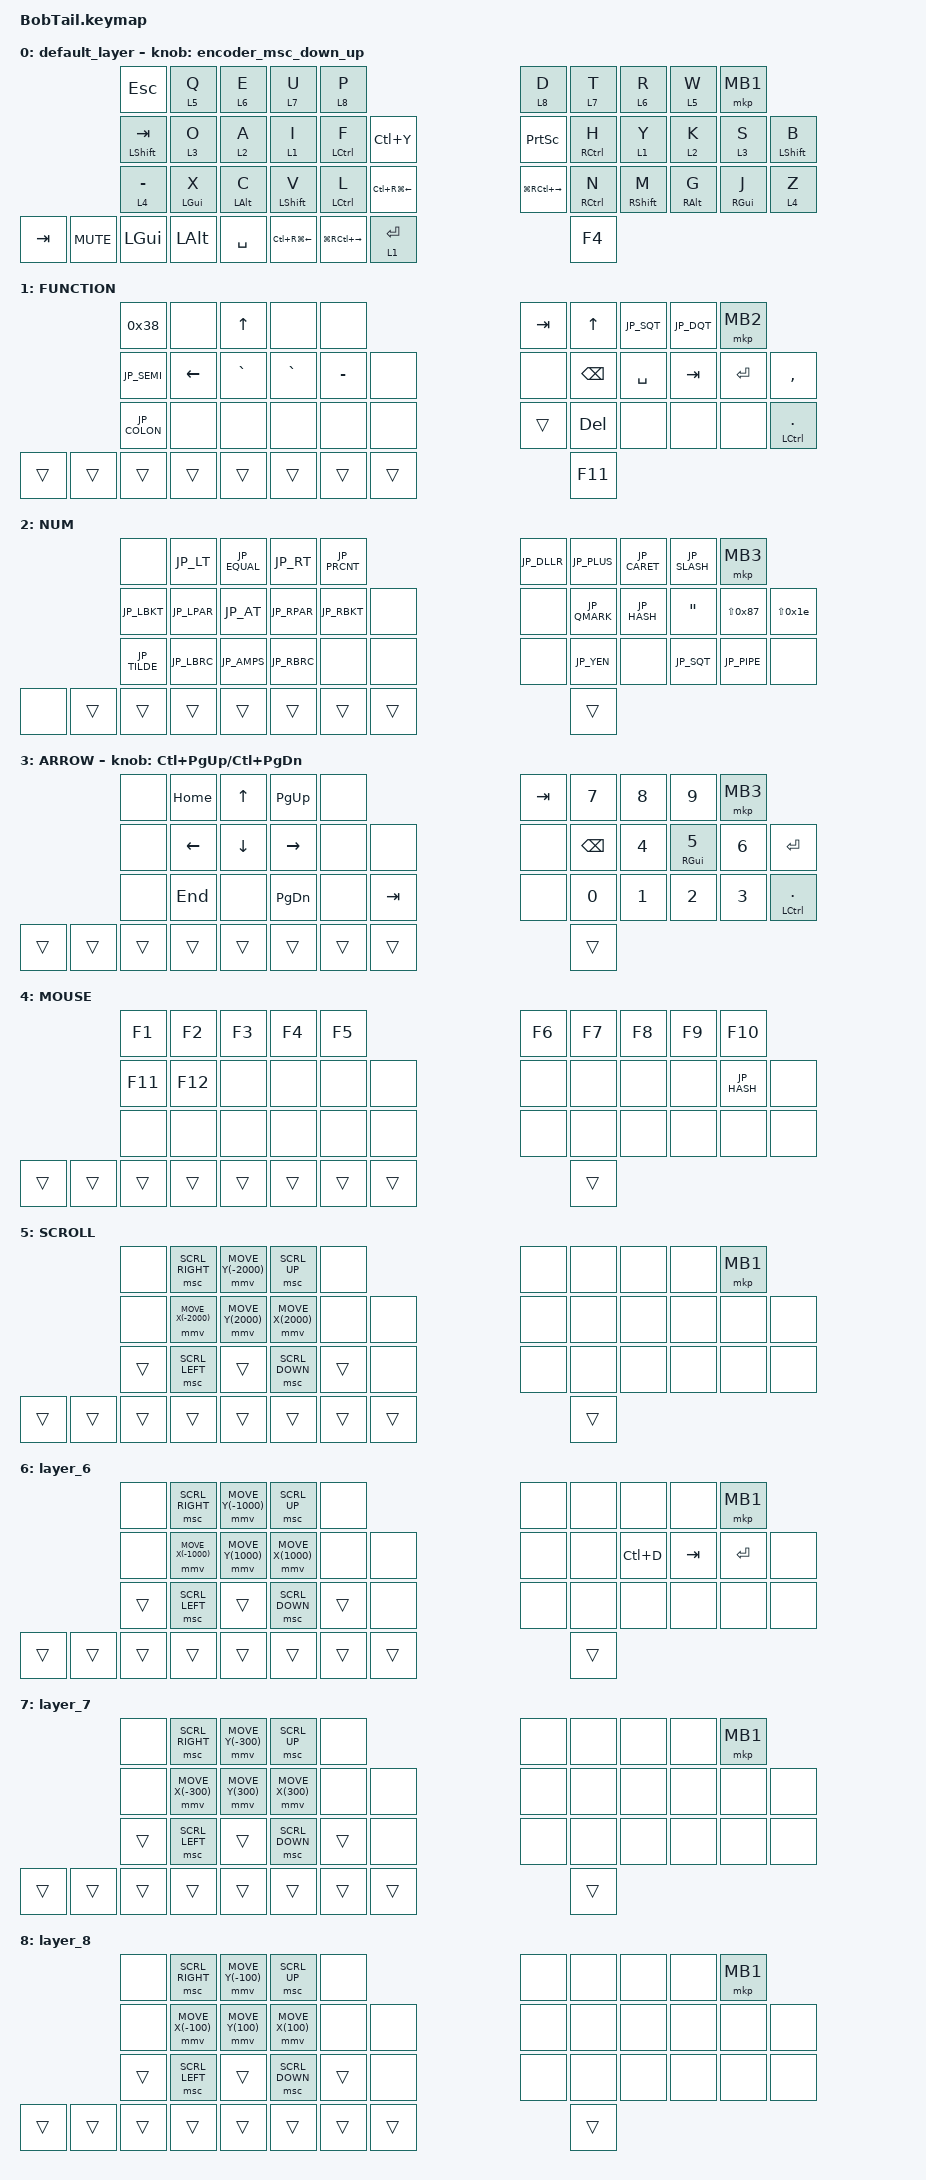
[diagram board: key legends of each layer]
#include <behaviors.dtsi>
#include <dt-bindings/zmk/bt.h>
#include <dt-bindings/zmk/keys.h>
#include <dt-bindings/zmk/pointing.h>
#include "keycode_japanese.h"


#define ZMK_POINTING_DEFAULT_SCRL_VAL 40   //80→40にしてみる

&msc {
    acceleration-exponent = <0>;      // 0
    time-to-max-speed-ms = <0>;       // 300
    delay-ms = <0>;                   // 0
};

&mmv {
    time-to-max-speed-ms = <0>;
    acceleration-exponent = <0>;
    trigger-period-ms = <10>;
    delay-ms = <0>;
};

&mt { 
    flavor = "balanced"; 
    tapping-term-ms = <200>;
    quick-tap-ms = <150>; 
};

&lt {
    flavor = "balanced";
    tapping-term-ms = <200>; 
    quick-tap-ms = <150>; 
};

    // 0  1  2  3  4  　　　　　　　　5  6  7  8  9  
    // 10 11 12 13 14 15        16 17 18 19 20 21
    // 22 23 24 25 26 27        28 29 30 31 32 33
    // 34 35 36 37 38 39        40 41         42







/ {
    combos {
        compatible = "zmk,combos";

      lang {
            bindings = <&kp GRAVE>;
            key-positions = <1 3>;
            layers = <0>;
            timeout-ms = <200>;
        };

        fopen {
            bindings = <&kp LG(N2)>;
            key-positions = <5 9>;
            layers = <0>;
            timeout-ms = <200>;
        };

       bootloader_R {
            bindings = <&bootloader>;
            key-positions = <5 9 40 42>;
            timeout-ms = <200>;
        };

       bootloader_L {
            bindings = <&bootloader>;
            key-positions = <0 4 34 39>;
            timeout-ms = <200>;
        };

        eq {
            bindings = <&bt BT_CLR_ALL>;
            key-positions = <0 10 22>;
            timeout-ms = <50>;
            layers = <0>;
        };

        bt0 {
            bindings = <&bt BT_SEL 0>;
            key-positions = <5 17 29>;
            timeout-ms = <50>;
            layers = <0>;
        };

        bt1 {
            bindings = <&bt BT_SEL 1>;
            key-positions = <6 18 30>;
            layers = <0>;
        };

        bt2 {
            bindings = <&bt BT_SEL 2>;
            key-positions = <7 19 31>;
            layers = <0>;
        };

        mute {
            bindings = <&kp C_MUTE>;
            key-positions = <13 14>;
            layers = <0>;
        };

        vup {
            bindings = <&kp C_VOL_UP>;
            key-positions = <3 4>;
            layers = <0>;
        };

        vdn {
            bindings = <&kp C_VOL_DN>;
            key-positions = <25 26>;
            layers = <0>;
        };

        printscreen {
            bindings = <&kp PSCRN>;
            key-positions = <23 25>;
            layers = <0>;
        };


        space {
            bindings = <&kp SPACE>;
            key-positions = <10 13>;
            layers = <0>;
            timeout-ms = <250>;
        };


    };

    behaviors {
        encoder_msc_down_up: encoder_msc_down_up {
            compatible = "zmk,behavior-sensor-rotate";
            label = "ENCODER_MSC_DOWN_UP";
            #sensor-binding-cells = <0>;
            bindings = <&msc SCRL_UP>,<&msc SCRL_DOWN>;
            tap-ms = <20>;
        };
    };


    keymap {
        compatible = "zmk,keymap";

        default_layer {
            bindings = <
&kp ESCAPE      &lt 5 Q    &lt 6 E    &lt 7 U       &lt 8 P                                                  &lt 8 D    &lt 7 T       &lt 6 R     &lt 5 W     &mkp MB1
&mt LSHIFT TAB  &lt 3 O    &lt 2 A    &lt 1 I       &mt LCTRL F        &kp LC(Y)              &kp PRINTSCREEN      &mt RCTRL H  &lt 1 Y       &lt 2 K     &lt 3 S     &mt LEFT_SHIFT B
&lt 4 MINUS     &mt LGUI X &mt LALT C &mt LSHIFT V  &mt LCTRL L  &kp LC(RG(LEFT))             &kp LG(RC(RIGHT))             &mt RCTRL N  &mt RSHIFT M  &mt RALT G  &mt RGUI J  &lt 4 Z
&kp TAB             &kp C_MUTE  &kp LEFT_GUI  &kp LEFT_ALT  &kp SPACE  &kp LC(RG(LEFT))             &kp LG(RC(RIGHT))  &lt 1 ENTER                             &kp F4
            >;

            sensor-bindings = <&encoder_msc_down_up>;
        };

        FUNCTION {
            bindings = <
 &kp 0x38      &none      &kp UP     &none      &none                              &kp TAB        &kp UP     &kp JP_SQT  &kp JP_DQT  &mkp MB2
&kp JP_SEMI   &kp LEFT   &kp GRAVE  &kp GRAVE  &kp MINUS  &none      &none  &kp BACKSPACE  &kp SPACE  &kp TAB     &kp ENTER   &kp COMMA
 &kp JP_COLON  &none      &none      &none      &none      &none         &trans    &kp DELETE     &none      &none       &none       &mt LCTRL PERIOD
&trans    &trans     &trans     &trans     &trans     &trans         &trans    &trans                                       &kp F11
            >;
        };

        NUM {
            bindings = <

          &none        &kp JP_LT      &kp JP_EQUAL   &kp JP_RT    &kp JP_PRCNT                               &kp JP_DLLR   &kp JP_PLUS  &kp JP_CARET      &kp JP_SLASH  &mkp MB3
            &kp JP_LBKT  &kp JP_LPAR    &kp JP_AT      &kp JP_RPAR  &kp JP_RBKT      &none                   &none       &kp JP_QMARK  &kp JP_HASH  &kp DOUBLE_QUOTES &kp LS(0x87)  &kp LS(0x1e)
            &kp JP_TILDE &kp JP_LBRC    &kp JP_AMPS    &kp JP_RBRC  &none            &none                 &none         &kp JP_YEN    &none        &kp JP_SQT        &kp JP_PIPE   &none
  

&none    &trans        &trans         &trans        &trans         &trans          &trans      &trans                                                   &trans
            >;
        };

        ARROW {
            bindings = <


     &none        &kp HOME   &kp UP     &kp PAGE_UP      &none                               &kp TAB          &kp N7          &kp N8        &kp N9         &mkp MB3
                &none        &kp LEFT   &kp DOWN   &kp RIGHT        &none  &none                   &none       &kp BACKSPACE  &kp N4          &mt RGUI N5        &kp N6         &kp ENTER
                &none        &kp END    &none      &kp PAGE_DOWN    &none      &kp TAB             &none           &kp N0         &kp N1          &kp N2        &kp N3         &mt LCTRL PERIOD
           

&trans  &trans  &trans  &trans  &trans  &trans      &trans  &trans                          &trans
            >;

            sensor-bindings = <&inc_dec_kp LC(PAGE_UP) LC(PAGE_DOWN)>;
        };

        MOUSE {
            bindings = <
               &kp F1   &kp F2    &kp F3  &kp F4  &kp F5                            &kp F6  &kp F7  &kp F8  &kp F9       &kp F10
               &kp F11  &kp F12   &none   &none   &none     &none                  &none      &none   &none   &none   &kp JP_HASH  &none
               &none    &none     &none   &none   &none     &none                  &none      &none   &none   &none   &none        &none
&trans  &trans  &trans  &trans  &trans  &trans      &trans  &trans                              &trans
            >;
        };

        SCROLL {
            bindings = <
             &none   &msc SCRL_RIGHT    &mmv MOVE_Y(-2000)  &msc SCRL_UP       &none                    &none   &none  &none  &none  &mkp MB1
                &none   &mmv MOVE_X(-2000) &mmv MOVE_Y(2000)   &mmv MOVE_X(2000)  &none  &none          &none        &none   &none  &none  &none  &none
                &trans  &msc SCRL_LEFT     &trans              &msc SCRL_DOWN     &trans &none          &none        &none   &none  &none  &none  &none
   &trans  &trans  &trans  &trans  &trans  &trans      &trans  &trans                          &trans
            >;
        };

        layer_6 {
            bindings = <
            &none  &msc SCRL_RIGHT   &mmv MOVE_Y(-1000) &msc SCRL_UP      &none                   &none  &none     &none    &none     &mkp MB1
                &none  &mmv MOVE_X(-1000) &mmv MOVE_Y(1000)  &mmv MOVE_X(1000)  &none  &none          &none       &none  &kp LC(D) &kp TAB  &kp ENTER &none 
                &trans &msc SCRL_LEFT    &trans            &msc SCRL_DOWN    &trans &none          &none       &none  &none     &none    &none     &none
    &trans  &trans  &trans  &trans  &trans  &trans      &trans  &trans                          &trans
            >;
        };

        layer_7 {
            bindings = <
              &none  &msc SCRL_RIGHT   &mmv MOVE_Y(-300) &msc SCRL_UP      &none              &none  &none  &none  &none  &mkp MB1
                &none  &mmv MOVE_X(-300) &mmv MOVE_Y(300)  &mmv MOVE_X(300)  &none  &none         &none             &none  &none  &none  &none  &none
                &trans &msc SCRL_LEFT    &trans            &msc SCRL_DOWN    &trans &none         &none             &none  &none  &none  &none  &none
  &trans  &trans  &trans  &trans  &trans  &trans      &trans  &trans                          &trans
            >;
        };
        layer_8 {
            bindings = <
              &none  &msc SCRL_RIGHT   &mmv MOVE_Y(-100) &msc SCRL_UP      &none              &none  &none  &none  &none  &mkp MB1
                &none  &mmv MOVE_X(-100) &mmv MOVE_Y(100)  &mmv MOVE_X(100)  &none  &none         &none             &none  &none  &none  &none  &none
                &trans &msc SCRL_LEFT    &trans            &msc SCRL_DOWN    &trans &none         &none             &none  &none  &none  &none  &none
  &trans  &trans  &trans  &trans  &trans  &trans      &trans  &trans                          &trans
            >;
        };

    };
};
